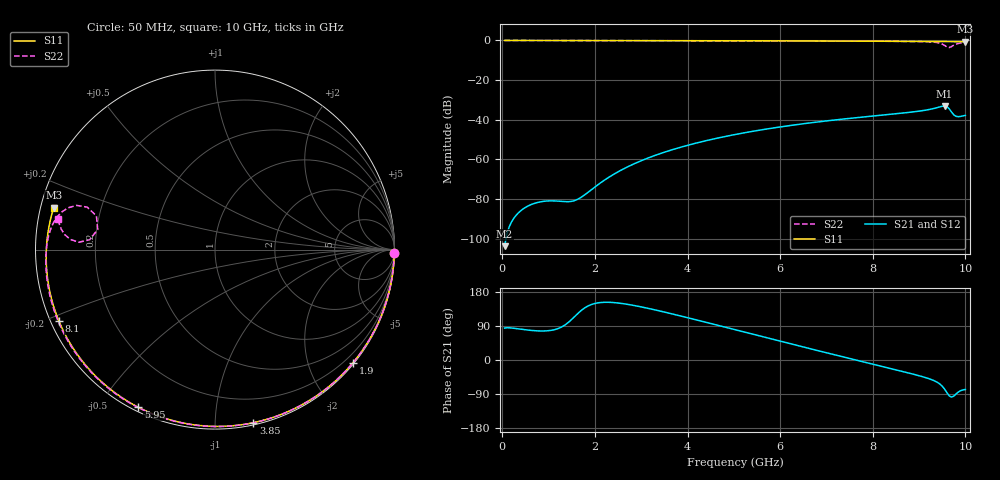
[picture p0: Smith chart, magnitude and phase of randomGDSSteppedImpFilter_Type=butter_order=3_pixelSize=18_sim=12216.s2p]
! freq	dB(S11)	phase(S11)	dB(S12)	phase(S12)
!  dB(S21)	phase(S21)	dB(S22)	phase(S22)
!S-par simulation data
#  GHz  S  DB  R 50
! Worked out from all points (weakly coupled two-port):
!   200 points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, 50 MHz to 10 GHz, reference 50 ohm
!   highest |S21| = -33.03 dB at 9.55 GHz (marker M1); lowest = -103.7 dB at 50 MHz (marker M2)
!   lowest |S11| = -0.6 dB at 10 GHz (marker M3), VSWR 27.08, Z = 1.88 + j6.41 ohm
!   |S11| at or under -10 dB: nowhere
!   |S22| runs from -3.6 to 0.0 dB; largest |S21 - S12| = 0
!   S11 on the Smith chart (normalised r, x): 50 MHz: open; 1.9 GHz: 0.03, -2.80; 3.85 GHz: 0.02, -1.25; 5.95 GHz: 0.02, -0.62; 8.1 GHz: 0.02, -0.22; 10 GHz: 0.04, +0.13
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0.05  -0.00 -1.0  -103.72 84.3  -103.72 84.3  -0.00 -1.1
0.8  -0.02 -16.8  -81.47 76.6  -81.47 76.6  -0.02 -18.3
1.6  -0.04 -33.3  -80.38 119.1  -80.38 119.1  -0.05 -36.3
1.75  -0.05 -36.3  -78.33 135.0  -78.33 135.0  -0.05 -39.6
1.9  -0.05 -39.4  -75.68 145.2  -75.68 145.2  -0.05 -42.9
2.25  -0.06 -46.4  -69.74 152.4  -69.74 152.4  -0.06 -50.5
2.55  -0.07 -52.4  -65.59 149.7  -65.59 149.7  -0.07 -56.9
2.95  -0.08 -60.2  -61.13 141.4  -61.13 141.4  -0.08 -65.3
3.4  -0.09 -68.9  -57.12 129.4  -57.12 129.4  -0.10 -74.6
3.85  -0.11 -77.5  -53.85 116.2  -53.85 116.2  -0.11 -83.6
5.05  -0.15 -99.7  -47.32 79.2  -47.32 79.2  -0.16 -106.8
5.95  -0.20 -116.0  -43.78 51.3  -43.78 51.3  -0.21 -123.4
6.7  -0.26 -129.5  -41.41 28.2  -41.41 28.2  -0.26 -137.0
8.1  -0.39 -155.3  -37.88 -13.9  -37.88 -13.9  -0.39 -162.8
8.35  -0.41 -160.1  -37.31 -21.4  -37.31 -21.4  -0.42 -167.7
9.2  -0.52 -177.2  -34.90 -48.8  -34.90 -48.8  -0.69 173.1
9.4  -0.55 178.6  -33.81 -59.3  -33.81 -59.3  -1.13 166.1
9.55  -0.57 175.4  -33.03 -76.7  -33.03 -76.7  -2.49 161.6
9.65  -0.59 173.2  -34.43 -94.5  -34.43 -94.5  -3.57 170.3
9.75  -0.60 171.0  -37.52 -95.2  -37.52 -95.2  -2.39 176.9
9.85  -0.62 168.8  -38.43 -84.2  -38.43 -84.2  -1.50 174.3
10  -0.64 165.4  -37.77 -77.8  -37.77 -77.8  -1.02 169.0
